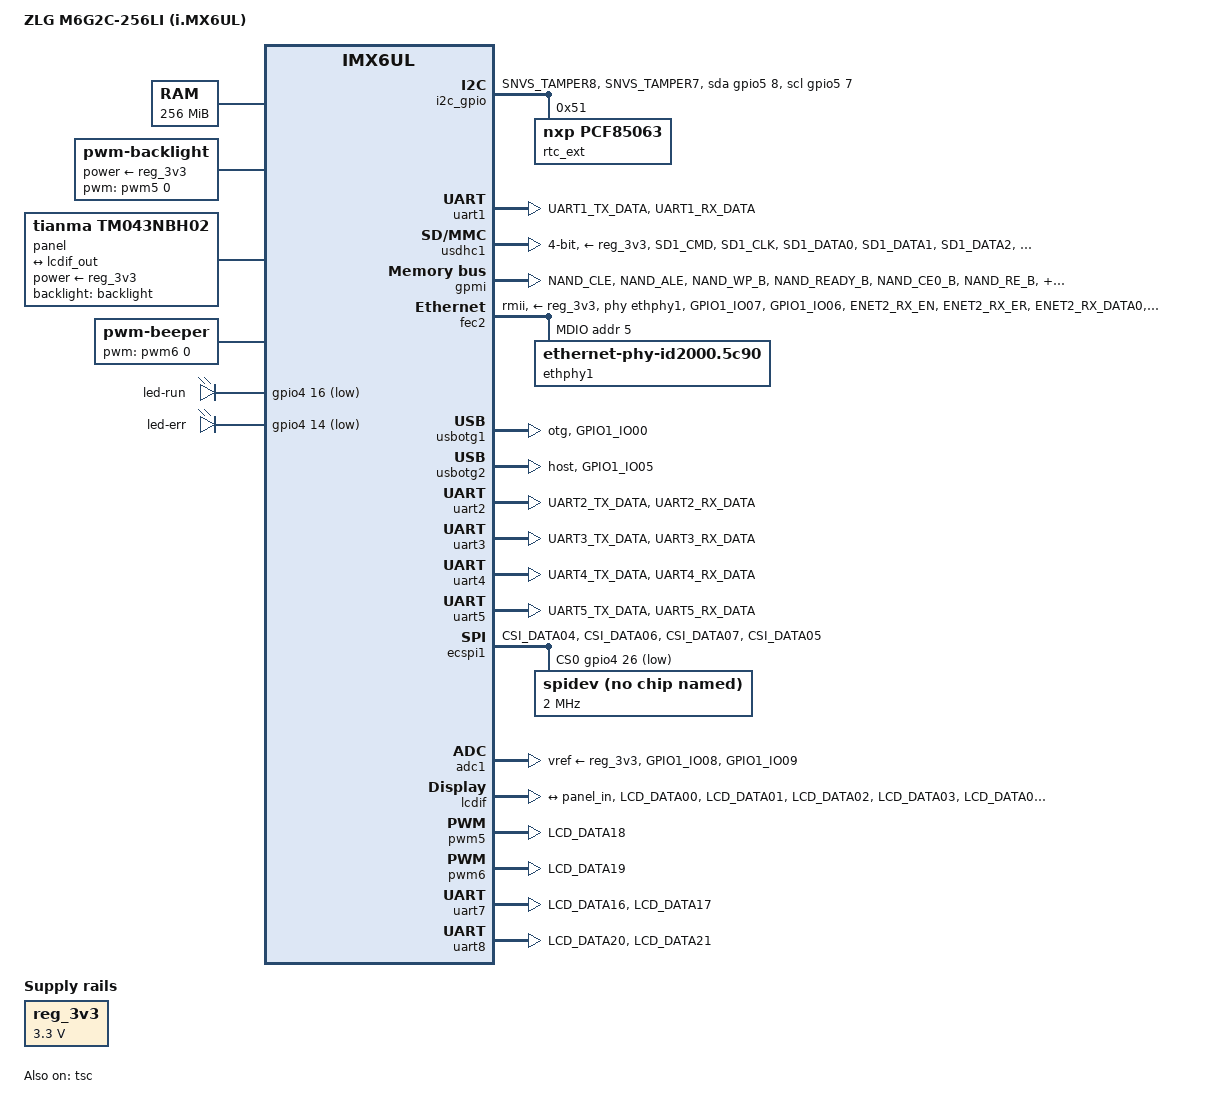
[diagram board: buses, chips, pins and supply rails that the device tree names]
// SPDX-License-Identifier: (GPL-2.0+ OR MIT)
/*
 * ZLG M6G2C-256LI core module (NXP i.MX6UL MCIMX6G2CVM05, 528 MHz)
 *   256 MiB DDR3L  ISSI IS43TR16128DL-125KBLI
 *   256 MiB NAND   Spansion S34ML02G2 (marking ML02G200BH100)
 *
 * What is certain is marked as such. Everything marked VERIFY is the usual
 * i.MX6UL wiring but depends on ZLG's module/carrier design: compare it with
 * ZLG's imx6g2c-256m.dts (from the ZLG CD / FAE) or with the device tree of
 * the factory Linux (tools/collect-zlg-hwinfo.sh + tools/decode-pinctrl.py).
 *
 * CONFIRMED from the factory boot log of an EPC-M6G2C (ZLG U-Boot 2015.04,
 * Linux 4.1.15, "ZLG EPC-A6G2C Board"):
 *   - console UART1 (ttymxc0), SD card on uSDHC1 (2190000), with CD and WP
 *   - one Ethernet port: ENET2 (20b4000), TI/NS DP83848C PHY at MDIO addr 5
 *   - RTC: NXP PCF85063 at 0x51 on a GPIO (bit-banged) I2C bus,
 *     SDA = gpio 136 = GPIO5_IO08, SCL = gpio 135 = GPIO5_IO07
 *   - NAND: S34ML02G2, flash-based BBT, 4 partitions (see gpmi below)
 *   - both USB controllers as hosts
 *   - external GPIO watchdog fed by a ZLG driver at arch_initcall
 * and from ZLG's EPC-M6G2C device tree as published in two CSDN posts
 * (an older ZLG release: its NAND layout differs, so the log wins where they
 * disagree). It agrees with the log on the I2C/RTC wiring and adds:
 *   - watchdog: CAT82x supervisor, WDI on GPIO5_IO00 (pad 0x17059),
 *     hw_margin_ms 700
 *   - LEDs on GPIO4_IO16 and GPIO4_IO14, active low (see leds node)
 *   - UART7 on LCD_DATA16/17, UART8 on LCD_DATA20/21
 *   - ENET1 PHY at MDIO address 1 (ENET2's is 5), both on ENET2's MDIO bus
 *   - USB OTG1 dual-role with ID on GPIO1_IO00, OTG2 host
 *
 * Feature switches: set to 1 to enable.
 */

/* ENET2: the EPC-M6G2C's Ethernet port (DP83848C at MDIO address 5). */
#ifndef M6G2C_ENABLE_FEC2
#define M6G2C_ENABLE_FEC2	1
#endif

/* ENET1: PHY at address 1 in ZLG's device tree, but not probed on the unit
 * whose boot log this port is based on. Enable if your EPC-M6G2C has a
 * second Ethernet port. */
#ifndef M6G2C_ENABLE_FEC1
#define M6G2C_ENABLE_FEC1	0
#endif

/* PCF85063 RTC on the GPIO I2C bus (SNVS_TAMPER7/8 pads) */
#ifndef M6G2C_ENABLE_RTC
#define M6G2C_ENABLE_RTC	1
#endif

/*
 * On-module NAND, with ZLG's factory partitions, all read-only (see &gpmi).
 * Verified on an EPC-M6G2C (with Linux 6.1): Linux finds ZLG's bad-block table and
 * writes nothing; with fsl,use-minimum-ecc it reads ZLG's data correctly.
 */
#ifndef M6G2C_ENABLE_NAND
#define M6G2C_ENABLE_NAND	1
#endif

/*
 * FlexCAN1 on UART3_RTS/CTS, FlexCAN2 on UART2_RTS/CTS (confirmed in ZLG's
 * device tree). Off in the factory system; CAN2's pads double as UART2
 * RTS/CTS for ZLG's Bluetooth option.
 */
#ifndef M6G2C_ENABLE_CAN
#define M6G2C_ENABLE_CAN	0
#endif

/* UART7 (LCD_DATA16/17) and UART8 (LCD_DATA20/21): ttymxc6 / ttymxc7 */
#ifndef M6G2C_ENABLE_UART78
#define M6G2C_ENABLE_UART78	1
#endif

/* UART2-5 (ttymxc1-4) on their own pads, as in ZLG's factory system */
#ifndef M6G2C_ENABLE_UART2345
#define M6G2C_ENABLE_UART2345	1
#endif

/*
 * NEP's MI200E power-line modems on ECSPI1: three, one per mains phase, each
 * with its own chip-select GPIO, paced by the EPIT2 timer. /dev/mi200e for
 * NEP's gateway-plc (driver board-files/linux/drivers/nep-mi200e.c, module
 * plc_mi200e_o). It drives ECSPI1 itself, so it excludes M6G2C_ENABLE_SPI.
 *
 * Off by default: single-phase EPC-M6G2C units (engineer.cfg
 * "plc_module=1") talk to a serial PLC module on UART2 (/dev/ttymxc1,
 * 9600 8N1) and don't use the MI200E. Turn it on only for units with
 * "comm_device=0" and "plc_module=0".
 */
#ifndef M6G2C_ENABLE_MI200E
#define M6G2C_ENABLE_MI200E	0
#endif

/*
 * ECSPI1 as a plain spidev (/dev/spidev0.0, chip select GPIO4_IO26). Turned
 * off automatically when M6G2C_ENABLE_MI200E=1.
 */
#ifndef M6G2C_ENABLE_SPI
#define M6G2C_ENABLE_SPI	1
#endif

/* both use ECSPI1: the MI200E wins (a space, not a tab: 02-kernel.sh's sed) */
#if M6G2C_ENABLE_SPI && M6G2C_ENABLE_MI200E
#undef M6G2C_ENABLE_SPI
#define M6G2C_ENABLE_SPI 0
#endif

/* ADC1 inputs 8 and 9 (GPIO1_IO08/09 pads) */
#ifndef M6G2C_ENABLE_ADC
#define M6G2C_ENABLE_ADC	1
#endif

/*
 * Pins ZLG's device tree sets up as plain GPIOs (its "hog" group), likely
 * the box's digital I/O: GPIO3_IO04, GPIO5_IO01-04, GPIO4_IO17-24.
 * GPIO4_IO17-24 share pads with UART6, the second SD controller (uSDHC2)
 * and the camera interface, which stay off.
 */
#ifndef M6G2C_ENABLE_GPIO_HOG
#define M6G2C_ENABLE_GPIO_HOG	1
#endif

/*
 * Display: Tianma TM043NBH02, 4.3" 480x272, on LCDIF with 16 data lines
 * (RGB565), PWM5 backlight. Timings and polarities from ZLG's device tree.
 */
#ifndef M6G2C_ENABLE_DISPLAY
#define M6G2C_ENABLE_DISPLAY	1
#endif

/* The panel's 4-wire resistive touch, on the i.MX6UL touch controller */
#ifndef M6G2C_ENABLE_TOUCH
#define M6G2C_ENABLE_TOUCH	1
#endif

/* Beeper on PWM6 (LCD_DATA19); ZLG drives it at 2.5 kHz */
#ifndef M6G2C_ENABLE_BEEPER
#define M6G2C_ENABLE_BEEPER	1
#endif

/* Run/error LEDs on the EPC-M6G2C front panel */
#ifndef M6G2C_ENABLE_LEDS
#define M6G2C_ENABLE_LEDS	1
#endif

/* USB: OTG1 dual-role (ID pin), OTG2 host, as in ZLG's device tree */
#ifndef M6G2C_ENABLE_USB
#define M6G2C_ENABLE_USB	1
#endif

/dts-v1/;

#include <dt-bindings/gpio/gpio.h>
#include "imx6ul.dtsi"

/ {
	model = "ZLG M6G2C-256LI (i.MX6UL)";
	compatible = "zlg,m6g2c", "fsl,imx6ul";

	chosen {
		stdout-path = &uart1;
	};

#if M6G2C_ENABLE_RTC
	aliases {
		rtc0 = &rtc_ext;	/* battery-backed, used by hwclock/systemd */
		rtc1 = &snvs_rtc;
	};

	i2c_gpio: i2c-gpio {
		compatible = "i2c-gpio";
		pinctrl-names = "default";
		pinctrl-0 = <&pinctrl_i2c_gpio>;
		sda-gpios = <&gpio5 8 (GPIO_ACTIVE_HIGH | GPIO_OPEN_DRAIN)>;
		scl-gpios = <&gpio5 7 (GPIO_ACTIVE_HIGH | GPIO_OPEN_DRAIN)>;
		i2c-gpio,delay-us = <5>;	/* ~100 kHz */
		#address-cells = <1>;
		#size-cells = <0>;

		rtc_ext: rtc@51 {
			compatible = "nxp,pcf85063";
			reg = <0x51>;
		};
	};
#endif

	/* Certain: one x16 DDR3L device, 2 Gbit = 256 MiB on CS0. */
	memory@80000000 {
		device_type = "memory";
		reg = <0x80000000 0x10000000>;
	};

	reg_3v3: regulator-3v3 {
		compatible = "regulator-fixed";
		regulator-name = "3V3";
		regulator-min-microvolt = <3300000>;
		regulator-max-microvolt = <3300000>;
		regulator-always-on;
	};

#if M6G2C_ENABLE_DISPLAY
	backlight: backlight {
		compatible = "pwm-backlight";
		pwms = <&pwm5 0 5000000 0>;		/* 200 Hz */
		brightness-levels = <0 4 8 16 32 64 128 255>;
		default-brightness-level = <7>;
		power-supply = <&reg_3v3>;
	};

	panel {
		compatible = "tianma,tm043nbh02", "panel-dpi";
		data-mapping = "rgb565";	/* LCD_DATA00-15 only */
		width-mm = <95>;
		height-mm = <54>;
		power-supply = <&reg_3v3>;
		backlight = <&backlight>;

		/* ZLG's values: 9 MHz, 480x272 */
		panel-timing {
			clock-frequency = <9000000>;
			hactive = <480>;
			vactive = <272>;
			hfront-porch = <8>;
			hback-porch = <43>;
			hsync-len = <4>;
			vfront-porch = <8>;
			vback-porch = <8>;
			vsync-len = <6>;
			hsync-active = <0>;
			vsync-active = <0>;
			de-active = <1>;
			pixelclk-active = <0>;
		};

		port {
			panel_in: endpoint {
				remote-endpoint = <&lcdif_out>;
			};
		};
	};
#endif

#if M6G2C_ENABLE_BEEPER
	beeper {
		compatible = "pwm-beeper";
		pwms = <&pwm6 0 400000 0>;	/* 2.5 kHz, as ZLG */
		beeper-hz = <2500>;		/* console bell (\a) pitch */
	};
#endif

#if M6G2C_ENABLE_LEDS
	/*
	 * ZLG's own file is inconsistent: its gpio-leds node says run=IO16 and
	 * err=IO14, but its pin comments say the opposite. This follows the
	 * gpio-leds node; if the wrong LED blinks, swap the two gpios lines.
	 */
	leds {
		compatible = "gpio-leds";
		pinctrl-names = "default";
		pinctrl-0 = <&pinctrl_leds>;

		led-run {
			label = "led-run";
			gpios = <&gpio4 16 GPIO_ACTIVE_LOW>;
			linux,default-trigger = "heartbeat";
		};

		led-err {
			label = "led-err";
			gpios = <&gpio4 14 GPIO_ACTIVE_LOW>;
			default-state = "off";
		};
	};
#endif

#ifdef M6G2C_WDT_PAD
	/*
	 * External hardware watchdog (CAT82x on the EPC-M6G2C, ~1.6 s). U-Boot feeds it
	 * up to the jump into Linux; this driver (built in, arch_initcall)
	 * takes over and keeps feeding it until userspace opens it.
	 * scripts/02-kernel.sh defines the M6G2C_WDT_* macros from WDT_GPIO.
	 */
	watchdog-gpio {
		compatible = "linux,wdt-gpio";
		pinctrl-names = "default";
		pinctrl-0 = <&pinctrl_wdt>;
		gpios = <M6G2C_WDT_GPIO_REF M6G2C_WDT_PIN GPIO_ACTIVE_HIGH>;
		hw_algo = "toggle";
		hw_margin_ms = <M6G2C_WDT_MARGIN_MS>;
		always-running;
	};
#endif

#if M6G2C_ENABLE_MI200E
	/*
	 * As in ZLG's device tree, plus what NEP's driver hard-coded: the GPIO
	 * numbers and the EPIT2 timer. GPIO levels are raw; flags are ignored.
	 */
	plc: mi200e {
		compatible = "nep,mi200e";
		pinctrl-names = "default";
		pinctrl-0 = <&pinctrl_ecspi1 &pinctrl_ecspi1_cs &pinctrl_mi200e>;
		reg = <0x02008000 0x4000>,	/* ECSPI1 */
		      <0x020d4000 0x4000>;	/* EPIT2 */
		reg-names = "ecspi", "epit";
		/* outside /soc, so name the parent the SoC's peripherals use */
		interrupt-parent = <&gpc>;
		interrupts = <GIC_SPI 57 IRQ_TYPE_LEVEL_HIGH>;	/* EPIT2 */
		clocks = <&clks IMX6UL_CLK_ECSPI1>, <&clks IMX6UL_CLK_ECSPI1>,
			 <&clks IMX6UL_CLK_EPIT2>;
		clock-names = "ipg", "per", "epit";
		power-gpios = <&gpio4 18 GPIO_ACTIVE_HIGH>;
		reset-gpios = <&gpio4 19 GPIO_ACTIVE_HIGH>;
		phase-gpios = <&gpio4 20 GPIO_ACTIVE_HIGH>,	/* chip selects, */
			      <&gpio4 21 GPIO_ACTIVE_HIGH>,	/* phases A, B, C */
			      <&gpio4 22 GPIO_ACTIVE_HIGH>;
		led-gpios = <&gpio4 24 GPIO_ACTIVE_HIGH>;
		ss-gpios = <&gpio4 26 GPIO_ACTIVE_HIGH>;	/* ECSPI1_SS0 pad */
	};
#endif
};

#ifdef M6G2C_WDT_PAD
&iomuxc {
	pinctrl_wdt: wdtgrp {
		fsl,pins = <
			M6G2C_WDT_PAD		0x17059	/* as in ZLG's device tree */
		>;
	};
};
#endif

/* Certain for 528 MHz MCIMX6G2CVM05 parts: no 696 MHz operating point. */
&cpu0 {
	clock-frequency = <528000000>;
};

/* Debug console: UART1, 115200 8N1 (the i.MX6UL ROM's serial port). */
&uart1 {
	pinctrl-names = "default";
	pinctrl-0 = <&pinctrl_uart1>;
	status = "okay";
};

/* SD card on uSDHC1 (the NAND occupies uSDHC2's usual pads). */
&usdhc1 {
	pinctrl-names = "default";
	pinctrl-0 = <&pinctrl_usdhc1>;
	bus-width = <4>;
	broken-cd;		/* card-detect GPIO is carrier specific: poll */
	no-1-8-v;
	keep-power-in-suspend;
	vmmc-supply = <&reg_3v3>;
	status = "okay";
};

#if M6G2C_ENABLE_NAND
/*
 * S34ML02G2: 2048+128 byte pages, 64 pages/block, 2048 blocks.
 *
 * ECC: ZLG's factory software wrote the flash with BCH strength 4 (the chip's
 * minimum, 4 bits per 512 bytes). That's found with tools/gpmi-raw-analyze.py
 * on a raw page dump. Without fsl,use-minimum-ecc, Linux (6.1, 6.12) uses its
 * "legacy" layout, the strongest that fits the OOB (18 here), and every read
 * of ZLG's data fails with -EBADMSG (ECC error -74).
 *
 * Partitions as in the factory system. All read-only, so enabling NAND
 * cannot damage ZLG's software; drop "read-only" from the ones you take over.
 * The factory root filesystem is UBIFS on "rootfs" (ubi.mtd=3).
 */
&gpmi {
	pinctrl-names = "default";
	pinctrl-0 = <&pinctrl_gpmi_nand>;
	nand-on-flash-bbt;
	fsl,use-minimum-ecc;	/* match ZLG: BCH strength 4 */
	status = "okay";

	partitions {
		compatible = "fixed-partitions";
		#address-cells = <1>;
		#size-cells = <1>;

		partition@0 {
			label = "u-boot";
			reg = <0x0000000 0x0400000>;
			read-only;
		};

		partition@400000 {
			label = "dtb";
			reg = <0x0400000 0x0100000>;
			read-only;
		};

		partition@500000 {
			label = "kernel-0";
			reg = <0x0500000 0x0800000>;
			read-only;
		};

		partition@d00000 {
			label = "rootfs";
			reg = <0x0d00000 0xf300000>;
			read-only;
		};
	};
};
#endif

#if M6G2C_ENABLE_FEC1
&fec1 {
	pinctrl-names = "default";
	pinctrl-0 = <&pinctrl_enet1>;
	phy-mode = "rmii";
	phy-handle = <&ethphy0>;
	phy-supply = <&reg_3v3>;
	status = "okay";
};
#endif

#if M6G2C_ENABLE_FEC2 || M6G2C_ENABLE_FEC1
/* The MDIO bus is driven by ENET2 (as in the factory system). */
&fec2 {
	pinctrl-names = "default";
	pinctrl-0 = <&pinctrl_enet2>;
	phy-mode = "rmii";
	phy-handle = <&ethphy1>;
	phy-supply = <&reg_3v3>;
	status = "okay";	/* also needed by ENET1: it owns the MDIO bus */

	mdio {
		#address-cells = <1>;
		#size-cells = <0>;

#if M6G2C_ENABLE_FEC1
		/* ZLG device tree: ENET1's PHY at address 1 */
		ethphy0: ethernet-phy@1 {
			compatible = "ethernet-phy-ieee802.3-c22";
			reg = <1>;
		};
#endif

		/* CONFIRMED: DP83848C (ID 0x20005c90) at address 5 */
		ethphy1: ethernet-phy@5 {
			compatible = "ethernet-phy-id2000.5c90",
				     "ethernet-phy-ieee802.3-c22";
			reg = <5>;
		};
	};
};
#endif

#if M6G2C_ENABLE_CAN
&can1 {
	pinctrl-names = "default";
	pinctrl-0 = <&pinctrl_flexcan1>;
	status = "okay";
};

&can2 {
	pinctrl-names = "default";
	pinctrl-0 = <&pinctrl_flexcan2>;
	status = "okay";
};
#endif

#if M6G2C_ENABLE_USB
&usbotg1 {
	pinctrl-names = "default";
	pinctrl-0 = <&pinctrl_usb_otg1>;
	dr_mode = "otg";		/* host with an OTG/host cable, device to a PC */
	disable-over-current;
	status = "okay";
};

&usbotg2 {
	pinctrl-names = "default";
	pinctrl-0 = <&pinctrl_usb_otg2>;
	dr_mode = "host";
	disable-over-current;
	status = "okay";
};

&usbphy1 {
	fsl,tx-d-cal = <106>;	/* ZLG vendor kernel: tx-d-cal = <0x5> */
};

&usbphy2 {
	fsl,tx-d-cal = <106>;
};
#endif

#if M6G2C_ENABLE_UART2345
&uart2 {
	pinctrl-names = "default";
	pinctrl-0 = <&pinctrl_uart2>;
	status = "okay";
};

&uart3 {
	pinctrl-names = "default";
	pinctrl-0 = <&pinctrl_uart3>;
	status = "okay";
};

&uart4 {
	pinctrl-names = "default";
	pinctrl-0 = <&pinctrl_uart4>;
	status = "okay";
};

&uart5 {
	pinctrl-names = "default";
	pinctrl-0 = <&pinctrl_uart5>;
	status = "okay";
};
#endif

#if M6G2C_ENABLE_SPI
&ecspi1 {
	pinctrl-names = "default";
	pinctrl-0 = <&pinctrl_ecspi1 &pinctrl_ecspi1_cs>;
	cs-gpios = <&gpio4 26 GPIO_ACTIVE_LOW>;
	status = "okay";

	/* ZLG: "rohm,dh2228fv" is just a spidev-compatible placeholder */
	spidev@0 {
		compatible = "rohm,dh2228fv";
		reg = <0>;
		spi-max-frequency = <2000000>;
	};
};
#endif

#if M6G2C_ENABLE_ADC
&adc1 {
	pinctrl-names = "default";
	pinctrl-0 = <&pinctrl_adc1>;
	num-channels = <10>;		/* IN8 = GPIO1_IO08, IN9 = GPIO1_IO09 */
	vref-supply = <&reg_3v3>;
	status = "okay";
};
#endif

#if M6G2C_ENABLE_DISPLAY
&lcdif {
	pinctrl-names = "default";
	pinctrl-0 = <&pinctrl_lcdif_dat &pinctrl_lcdif_ctrl>;
	status = "okay";

	port {
		lcdif_out: endpoint {
			remote-endpoint = <&panel_in>;
		};
	};
};

&pwm5 {
	pinctrl-names = "default";
	pinctrl-0 = <&pinctrl_pwm5>;
	status = "okay";
};
#endif

#if M6G2C_ENABLE_BEEPER
&pwm6 {
	pinctrl-names = "default";
	pinctrl-0 = <&pinctrl_pwm6>;
	status = "okay";
};
#endif

#if M6G2C_ENABLE_TOUCH
&tsc {
	pinctrl-names = "default";
	pinctrl-0 = <&pinctrl_tsc>;
	xnur-gpios = <&gpio1 3 GPIO_ACTIVE_LOW>;
	measure-delay-time = <0xffff>;
	pre-charge-time = <0xfff>;
	status = "okay";
};
#endif

#if M6G2C_ENABLE_UART78
&uart7 {
	pinctrl-names = "default";
	pinctrl-0 = <&pinctrl_uart7>;
	status = "okay";
};

&uart8 {
	pinctrl-names = "default";
	pinctrl-0 = <&pinctrl_uart8>;
	status = "okay";
};
#endif

&iomuxc {
#if M6G2C_ENABLE_GPIO_HOG
	pinctrl-names = "default";
	pinctrl-0 = <&pinctrl_hog>;

	pinctrl_hog: hoggrp {
		fsl,pins = <
			MX6UL_PAD_LCD_RESET__GPIO3_IO04		0x17059
			MX6UL_PAD_SNVS_TAMPER1__GPIO5_IO01	0x17059
			MX6UL_PAD_SNVS_TAMPER2__GPIO5_IO02	0x17059
			MX6UL_PAD_SNVS_TAMPER3__GPIO5_IO03	0x17059
			MX6UL_PAD_SNVS_TAMPER4__GPIO5_IO04	0x17059
			MX6UL_PAD_CSI_MCLK__GPIO4_IO17		0x17059
#if !M6G2C_ENABLE_MI200E	/* else in pinctrl_mi200e */
			MX6UL_PAD_CSI_PIXCLK__GPIO4_IO18	0x17059
			MX6UL_PAD_CSI_VSYNC__GPIO4_IO19		0x17059
			MX6UL_PAD_CSI_HSYNC__GPIO4_IO20		0x17059
			MX6UL_PAD_CSI_DATA00__GPIO4_IO21	0x17059
			MX6UL_PAD_CSI_DATA01__GPIO4_IO22	0x17059
#endif
			MX6UL_PAD_CSI_DATA02__GPIO4_IO23	0x17059
#if !M6G2C_ENABLE_MI200E
			MX6UL_PAD_CSI_DATA03__GPIO4_IO24	0x17059
#endif
		>;
	};
#endif

	/* MI200E: power, reset, phase A/B/C chip selects, LED */
	pinctrl_mi200e: mi200egrp {
		fsl,pins = <
			MX6UL_PAD_CSI_PIXCLK__GPIO4_IO18	0x17059
			MX6UL_PAD_CSI_VSYNC__GPIO4_IO19		0x17059
			MX6UL_PAD_CSI_HSYNC__GPIO4_IO20		0x17059
			MX6UL_PAD_CSI_DATA00__GPIO4_IO21	0x17059
			MX6UL_PAD_CSI_DATA01__GPIO4_IO22	0x17059
			MX6UL_PAD_CSI_DATA03__GPIO4_IO24	0x17059
		>;
	};

	pinctrl_uart1: uart1grp {
		fsl,pins = <
			MX6UL_PAD_UART1_TX_DATA__UART1_DCE_TX	0x1b0b1
			MX6UL_PAD_UART1_RX_DATA__UART1_DCE_RX	0x1b0b1
		>;
	};

	pinctrl_usdhc1: usdhc1grp {
		fsl,pins = <
			MX6UL_PAD_SD1_CMD__USDHC1_CMD		0x17059
			MX6UL_PAD_SD1_CLK__USDHC1_CLK		0x10059
			MX6UL_PAD_SD1_DATA0__USDHC1_DATA0	0x17059
			MX6UL_PAD_SD1_DATA1__USDHC1_DATA1	0x17059
			MX6UL_PAD_SD1_DATA2__USDHC1_DATA2	0x17059
			MX6UL_PAD_SD1_DATA3__USDHC1_DATA3	0x17059
		>;
	};

	pinctrl_lcdif_dat: lcdifdatgrp {
		fsl,pins = <
			MX6UL_PAD_LCD_DATA00__LCDIF_DATA00	0x79
			MX6UL_PAD_LCD_DATA01__LCDIF_DATA01	0x79
			MX6UL_PAD_LCD_DATA02__LCDIF_DATA02	0x79
			MX6UL_PAD_LCD_DATA03__LCDIF_DATA03	0x79
			MX6UL_PAD_LCD_DATA04__LCDIF_DATA04	0x79
			MX6UL_PAD_LCD_DATA05__LCDIF_DATA05	0x79
			MX6UL_PAD_LCD_DATA06__LCDIF_DATA06	0x79
			MX6UL_PAD_LCD_DATA07__LCDIF_DATA07	0x79
			MX6UL_PAD_LCD_DATA08__LCDIF_DATA08	0x79
			MX6UL_PAD_LCD_DATA09__LCDIF_DATA09	0x79
			MX6UL_PAD_LCD_DATA10__LCDIF_DATA10	0x79
			MX6UL_PAD_LCD_DATA11__LCDIF_DATA11	0x79
			MX6UL_PAD_LCD_DATA12__LCDIF_DATA12	0x79
			MX6UL_PAD_LCD_DATA13__LCDIF_DATA13	0x79
			MX6UL_PAD_LCD_DATA14__LCDIF_DATA14	0x79
			MX6UL_PAD_LCD_DATA15__LCDIF_DATA15	0x79
		>;
	};

	pinctrl_lcdif_ctrl: lcdifctrlgrp {
		fsl,pins = <
			MX6UL_PAD_LCD_CLK__LCDIF_CLK		0x79
			MX6UL_PAD_LCD_ENABLE__LCDIF_ENABLE	0x79
			MX6UL_PAD_LCD_HSYNC__LCDIF_HSYNC	0x79
			MX6UL_PAD_LCD_VSYNC__LCDIF_VSYNC	0x79
		>;
	};

	pinctrl_pwm5: pwm5grp {
		fsl,pins = <
			MX6UL_PAD_LCD_DATA18__PWM5_OUT		0x110b0
		>;
	};

	pinctrl_pwm6: pwm6grp {
		fsl,pins = <
			MX6UL_PAD_LCD_DATA19__PWM6_OUT		0x110b0
		>;
	};

	pinctrl_tsc: tscgrp {
		fsl,pins = <
			MX6UL_PAD_GPIO1_IO01__GPIO1_IO01	0xb0
			MX6UL_PAD_GPIO1_IO02__GPIO1_IO02	0xb0
			MX6UL_PAD_GPIO1_IO03__GPIO1_IO03	0xb0
			MX6UL_PAD_GPIO1_IO04__GPIO1_IO04	0xb0
		>;
	};

	pinctrl_uart2: uart2grp {
		fsl,pins = <
			MX6UL_PAD_UART2_TX_DATA__UART2_DCE_TX	0x1b0b1
			MX6UL_PAD_UART2_RX_DATA__UART2_DCE_RX	0x1b0b1
		>;
	};

	pinctrl_uart3: uart3grp {
		fsl,pins = <
			MX6UL_PAD_UART3_TX_DATA__UART3_DCE_TX	0x1b0b1
			MX6UL_PAD_UART3_RX_DATA__UART3_DCE_RX	0x1b0b1
		>;
	};

	pinctrl_uart4: uart4grp {
		fsl,pins = <
			MX6UL_PAD_UART4_TX_DATA__UART4_DCE_TX	0x1b0b1
			MX6UL_PAD_UART4_RX_DATA__UART4_DCE_RX	0x1b0b1
		>;
	};

	pinctrl_uart5: uart5grp {
		fsl,pins = <
			MX6UL_PAD_UART5_TX_DATA__UART5_DCE_TX	0x1b0b1
			MX6UL_PAD_UART5_RX_DATA__UART5_DCE_RX	0x1b0b1
		>;
	};

	pinctrl_ecspi1: ecspi1grp {
		fsl,pins = <
			MX6UL_PAD_CSI_DATA04__ECSPI1_SCLK	0x100b1
			MX6UL_PAD_CSI_DATA06__ECSPI1_MOSI	0x100b1
			MX6UL_PAD_CSI_DATA07__ECSPI1_MISO	0x100b1
		>;
	};

	pinctrl_ecspi1_cs: ecspi1csgrp {
		fsl,pins = <
			MX6UL_PAD_CSI_DATA05__GPIO4_IO26	0x17059
		>;
	};

	pinctrl_adc1: adc1grp {
		fsl,pins = <
			MX6UL_PAD_GPIO1_IO08__GPIO1_IO08	0xb0
			MX6UL_PAD_GPIO1_IO09__GPIO1_IO09	0xb0
		>;
	};

	pinctrl_uart7: uart7grp {
		fsl,pins = <
			MX6UL_PAD_LCD_DATA16__UART7_DCE_TX	0x1b0b1
			MX6UL_PAD_LCD_DATA17__UART7_DCE_RX	0x1b0b1
		>;
	};

	pinctrl_uart8: uart8grp {
		fsl,pins = <
			MX6UL_PAD_LCD_DATA20__UART8_DCE_TX	0x1b0b1
			MX6UL_PAD_LCD_DATA21__UART8_DCE_RX	0x1b0b1
		>;
	};

	pinctrl_usb_otg1: usbotg1grp {
		fsl,pins = <
			MX6UL_PAD_GPIO1_IO00__ANATOP_OTG1_ID	0x17059
		>;
	};

	pinctrl_usb_otg2: usbotg2grp {
		fsl,pins = <
			MX6UL_PAD_GPIO1_IO05__ANATOP_OTG2_ID	0x17059
		>;
	};

	pinctrl_leds: ledsgrp {
		fsl,pins = <
			MX6UL_PAD_NAND_DQS__GPIO4_IO16		0x17059
			MX6UL_PAD_NAND_CE1_B__GPIO4_IO14	0x17059
		>;
	};

	pinctrl_i2c_gpio: i2cgpiogrp {
		fsl,pins = <
			MX6UL_PAD_SNVS_TAMPER8__GPIO5_IO08	0x4001b8b0	/* SDA */
			MX6UL_PAD_SNVS_TAMPER7__GPIO5_IO07	0x4001b8b0	/* SCL */
		>;
	};

	pinctrl_gpmi_nand: gpminandgrp {
		fsl,pins = <
			MX6UL_PAD_NAND_CLE__RAWNAND_CLE		0x0b0b1
			MX6UL_PAD_NAND_ALE__RAWNAND_ALE		0x0b0b1
			MX6UL_PAD_NAND_WP_B__RAWNAND_WP_B	0x0b0b1
			MX6UL_PAD_NAND_READY_B__RAWNAND_READY_B	0x0b000
			MX6UL_PAD_NAND_CE0_B__RAWNAND_CE0_B	0x0b0b1
			MX6UL_PAD_NAND_RE_B__RAWNAND_RE_B	0x0b0b1
			MX6UL_PAD_NAND_WE_B__RAWNAND_WE_B	0x0b0b1
			MX6UL_PAD_NAND_DATA00__RAWNAND_DATA00	0x0b0b1
			MX6UL_PAD_NAND_DATA01__RAWNAND_DATA01	0x0b0b1
			MX6UL_PAD_NAND_DATA02__RAWNAND_DATA02	0x0b0b1
			MX6UL_PAD_NAND_DATA03__RAWNAND_DATA03	0x0b0b1
			MX6UL_PAD_NAND_DATA04__RAWNAND_DATA04	0x0b0b1
			MX6UL_PAD_NAND_DATA05__RAWNAND_DATA05	0x0b0b1
			MX6UL_PAD_NAND_DATA06__RAWNAND_DATA06	0x0b0b1
			MX6UL_PAD_NAND_DATA07__RAWNAND_DATA07	0x0b0b1
		>;
	};

	pinctrl_enet1: enet1grp {
		fsl,pins = <
			MX6UL_PAD_ENET1_RX_EN__ENET1_RX_EN	0x1b0b0
			MX6UL_PAD_ENET1_RX_ER__ENET1_RX_ER	0x1b0b0
			MX6UL_PAD_ENET1_RX_DATA0__ENET1_RDATA00	0x1b0b0
			MX6UL_PAD_ENET1_RX_DATA1__ENET1_RDATA01	0x1b0b0
			MX6UL_PAD_ENET1_TX_EN__ENET1_TX_EN	0x1b0b0
			MX6UL_PAD_ENET1_TX_DATA0__ENET1_TDATA00	0x1b0b0
			MX6UL_PAD_ENET1_TX_DATA1__ENET1_TDATA01	0x1b0b0
			MX6UL_PAD_ENET1_TX_CLK__ENET1_REF_CLK1	0x4001b031
		>;
	};

	pinctrl_enet2: enet2grp {
		fsl,pins = <
			MX6UL_PAD_GPIO1_IO07__ENET2_MDC		0x1b0b0
			MX6UL_PAD_GPIO1_IO06__ENET2_MDIO	0x1b0b0
			MX6UL_PAD_ENET2_RX_EN__ENET2_RX_EN	0x1b0b0
			MX6UL_PAD_ENET2_RX_ER__ENET2_RX_ER	0x1b0b0
			MX6UL_PAD_ENET2_RX_DATA0__ENET2_RDATA00	0x1b0b0
			MX6UL_PAD_ENET2_RX_DATA1__ENET2_RDATA01	0x1b0b0
			MX6UL_PAD_ENET2_TX_EN__ENET2_TX_EN	0x1b0b0
			MX6UL_PAD_ENET2_TX_DATA0__ENET2_TDATA00	0x1b0b0
			MX6UL_PAD_ENET2_TX_DATA1__ENET2_TDATA01	0x1b0b0
			MX6UL_PAD_ENET2_TX_CLK__ENET2_REF_CLK2	0x4001b031
		>;
	};

	pinctrl_flexcan1: flexcan1grp {
		fsl,pins = <
			MX6UL_PAD_UART3_RTS_B__FLEXCAN1_RX	0x1b020
			MX6UL_PAD_UART3_CTS_B__FLEXCAN1_TX	0x1b020
		>;
	};

	pinctrl_flexcan2: flexcan2grp {
		fsl,pins = <
			MX6UL_PAD_UART2_RTS_B__FLEXCAN2_RX	0x1b020
			MX6UL_PAD_UART2_CTS_B__FLEXCAN2_TX	0x1b020
		>;
	};
};
